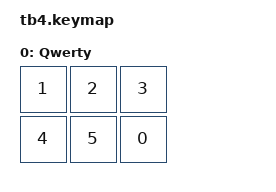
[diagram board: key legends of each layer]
/*
 * Manufacture : 2026 Zerotype
 * Copyright (c) 2024 The ZMK Contributors
 * SPDX-License-Identifier: MIT
 */



#include <behaviors.dtsi>
#include <dt-bindings/zmk/keys.h>
#include <dt-bindings/zmk/ext_power.h>
#include <dt-bindings/zmk/outputs.h>
#include <dt-bindings/zmk/bt.h>


#define TIMEOUT 300
#define DEFAULT 0

/ {

    keymap: keymap {
        compatible = "zmk,keymap";

        default_layer {
            label = "Qwerty";
            bindings = <
                            &kp 1       &kp 2          &kp 3
                            &kp 4       &kp 5          &kp 0
            >;

        };

        };
};

